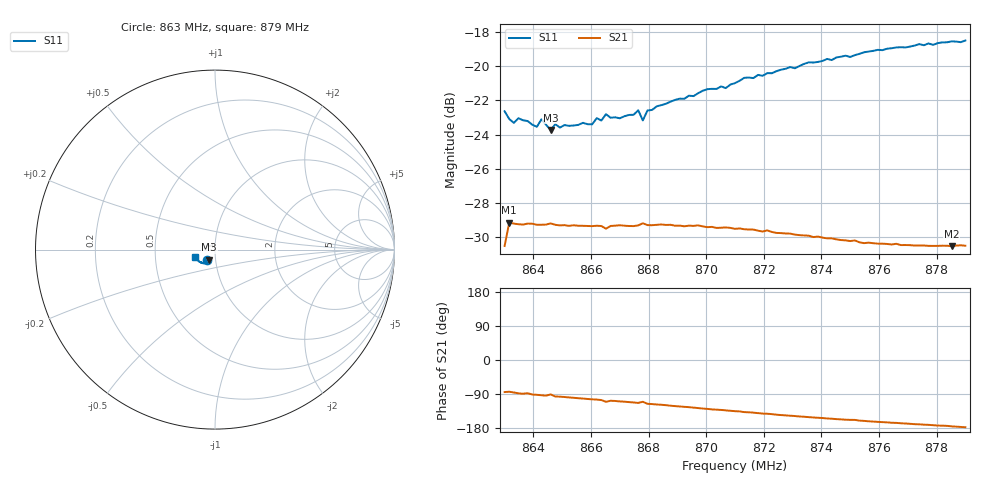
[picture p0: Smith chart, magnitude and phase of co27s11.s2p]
# HZ S RI R 50
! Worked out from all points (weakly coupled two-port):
!   101 points, 863 MHz to 879 MHz, reference 50 ohm
!   highest |S21| = -29.13 dB at 863.16 MHz (marker M1); lowest = -30.5 dB at 878.52 MHz (marker M2)
!   lowest |S11| = -23.7 dB at 864.6 MHz (marker M3), VSWR 1.14, Z = 46.6 - j5.25 ohm
!   |S11| at or under -10 dB: start of sweep to end of sweep
!   S12 and S22 are empty: the file has one direction only
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8.63e8  -0.0455 -0.0581  0.00281 -0.0297  0 0  0 0
8.6316e8  -0.0431 -0.0552  0.00382 -0.0347  0 0  0 0
8.6332e8  -0.0409 -0.0546  0.00262 -0.0346  0 0  0 0
8.6348e8  -0.0438 -0.0551  0.00121 -0.0345  0 0  0 0
8.6412e8  -0.0387 -0.054  -0.00108 -0.0344  0 0  0 0
8.6428e8  -0.041 -0.0566  -0.00185 -0.0344  0 0  0 0
8.646e8  -0.0327 -0.0562  -0.000506 -0.0348  0 0  0 0
8.6476e8  -0.0375 -0.0563  -0.00381 -0.0342  0 0  0 0
8.6492e8  -0.0364 -0.0551  -0.004 -0.0341  0 0  0 0
8.6572e8  -0.0354 -0.0583  -0.00696 -0.0335  0 0  0 0
8.6604e8  -0.0336 -0.0586  -0.00816 -0.0331  0 0  0 0
8.6652e8  -0.0378 -0.0617  -0.0117 -0.0314  0 0  0 0
8.67e8  -0.0348 -0.0612  -0.0113 -0.0324  0 0  0 0
8.6764e8  -0.0367 -0.0646  -0.0135 -0.0315  0 0  0 0
8.678e8  -0.027 -0.0639  -0.0121 -0.0326  0 0  0 0
8.6796e8  -0.0351 -0.0653  -0.0148 -0.031  0 0  0 0
8.6844e8  -0.0369 -0.0674  -0.0162 -0.0305  0 0  0 0
8.71e8  -0.0491 -0.0743  -0.0237 -0.0237  0 0  0 0
8.7372e8  -0.0685 -0.076  -0.0279 -0.015  0 0  0 0
8.7644e8  -0.0941 -0.0619  -0.0292 -0.0075  0 0  0 0
8.7852e8  -0.1094 -0.044  -0.0297 -0.00254  0 0  0 0
8.79e8  -0.1121 -0.0386  -0.0299 -0.00134  0 0  0 0
